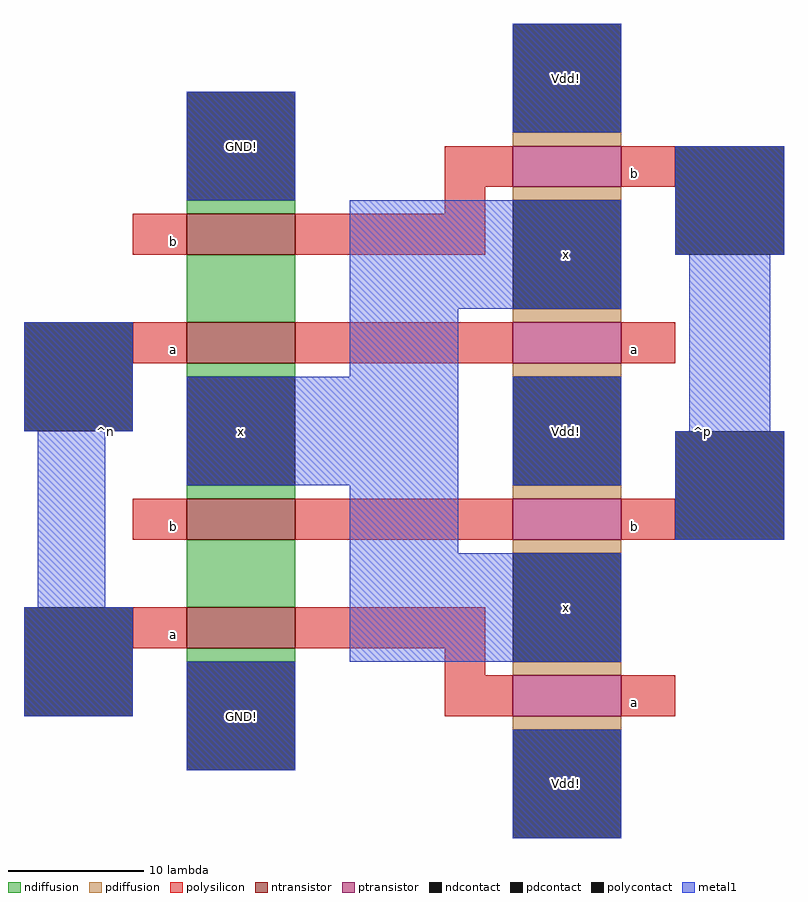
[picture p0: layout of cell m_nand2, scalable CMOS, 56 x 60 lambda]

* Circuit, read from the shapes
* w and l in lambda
.subckt m_nand2 GND! Vdd! a b x
M1 n1 a GND! VSUBS nfet w=8 l=3
M2 x b n1 VSUBS nfet w=8 l=3
M3 n2 a x VSUBS nfet w=8 l=3
M4 GND! b n2 VSUBS nfet w=8 l=3
M5 x a Vdd! NWELL pfet w=8 l=3 m=2
M6 Vdd! b x NWELL pfet w=8 l=3 m=2
.ends

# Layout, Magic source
magic
tech scmos
<< ndiffusion >>
rect 180 515 188 516
rect 180 507 188 512
rect 180 503 188 504
rect 180 494 188 495
rect 180 486 188 491
rect 180 482 188 483
<< pdiffusion >>
rect 204 520 212 521
rect 204 516 212 517
rect 204 507 212 508
rect 204 503 212 504
rect 204 494 212 495
rect 204 490 212 491
rect 204 481 212 482
rect 204 477 212 478
<< ntransistor >>
rect 180 512 188 515
rect 180 504 188 507
rect 180 491 188 494
rect 180 483 188 486
<< ptransistor >>
rect 204 517 212 520
rect 204 504 212 507
rect 204 491 212 494
rect 204 478 212 481
<< polysilicon >>
rect 199 517 204 520
rect 212 517 216 520
rect 199 515 202 517
rect 176 512 180 515
rect 188 512 202 515
rect 176 504 180 507
rect 188 504 204 507
rect 212 504 216 507
rect 176 491 180 494
rect 188 491 204 494
rect 212 491 216 494
rect 176 483 180 486
rect 188 483 202 486
rect 199 481 202 483
rect 199 478 204 481
rect 212 478 216 481
<< ndcontact >>
rect 180 516 188 524
rect 180 495 188 503
rect 180 474 188 482
<< pdcontact >>
rect 204 521 212 529
rect 204 508 212 516
rect 204 495 212 503
rect 204 482 212 490
rect 204 469 212 477
<< polycontact >>
rect 216 512 224 520
rect 168 499 176 507
rect 216 491 224 499
rect 168 478 176 486
<< metal1 >>
rect 180 516 188 524
rect 204 521 212 529
rect 192 508 212 516
rect 216 512 224 520
rect 168 499 176 507
rect 192 503 200 508
rect 169 486 174 499
rect 180 495 200 503
rect 204 495 212 503
rect 217 499 223 512
rect 192 490 200 495
rect 216 491 224 499
rect 168 478 176 486
rect 192 482 212 490
rect 180 474 188 482
rect 204 469 212 477
<< labels >>
rlabel metal1 208 512 208 512 1 x
rlabel metal1 208 525 208 525 5 Vdd!
rlabel metal1 208 499 208 499 1 Vdd!
rlabel polysilicon 179 505 179 505 3 a
rlabel polysilicon 179 513 179 513 3 b
rlabel polysilicon 213 518 213 518 1 b
rlabel polysilicon 213 505 213 505 1 a
rlabel metal1 208 486 208 486 5 x
rlabel metal1 208 473 208 473 1 Vdd!
rlabel polysilicon 179 492 179 492 3 b
rlabel polysilicon 179 484 179 484 3 a
rlabel polysilicon 213 479 213 479 1 a
rlabel polysilicon 213 492 213 492 1 b
rlabel metal1 184 520 184 520 5 GND!
rlabel metal1 184 499 184 499 5 x
rlabel metal1 184 478 184 478 1 GND!
rlabel space 167 473 181 525 7 ^n
rlabel space 211 468 225 530 3 ^p
<< end >>
